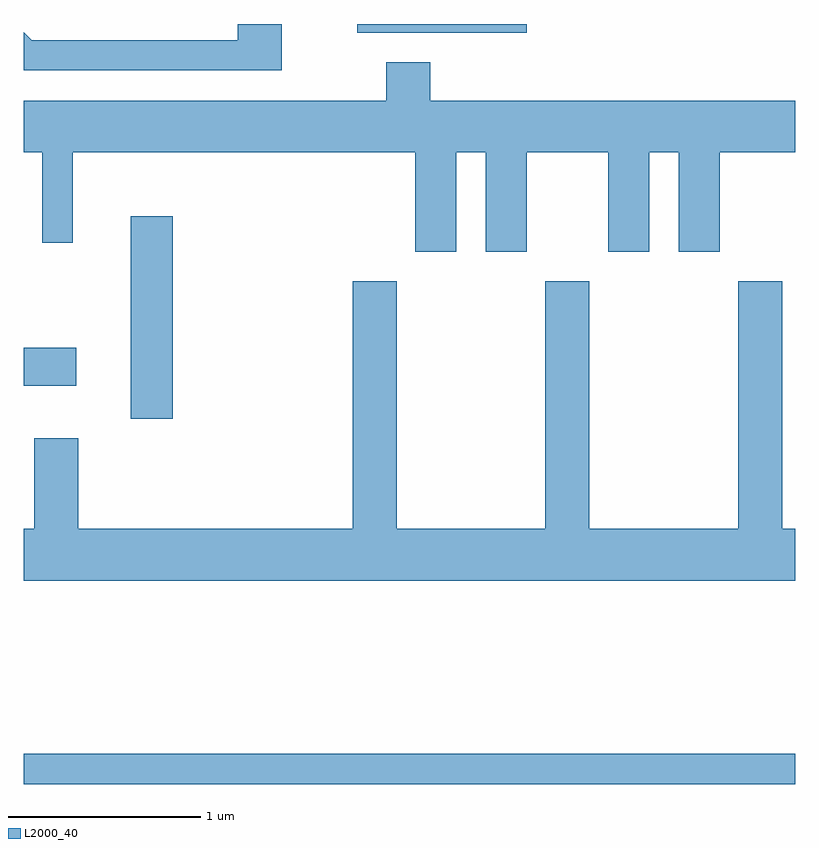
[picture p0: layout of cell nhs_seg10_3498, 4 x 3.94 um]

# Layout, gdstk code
import gdstk
lib = gdstk.Library(unit=1e-6, precision=1e-09)
def R(c, l, rs):  # rectangles x0, y0, x1, y1
    for r in rs: c.add(gdstk.rectangle(r[:2], r[2:], *l))
def P(c, l, *ps):  # polygons
    for p in ps: c.add(gdstk.Polygon(p, *l))
L2000_40 = (2000, 40)

nhs_seg10_3498 = lib.new_cell('nhs_seg10_3498')
R(nhs_seg10_3498, L2000_40, [(287.611,2170.581,291.611,2170.739), (288.166,2172.476,288.384,2173.524), (287.611,2172.646,287.884,2172.844), (289.341,2174.476,290.218,2174.522)])
P(nhs_seg10_3498, L2000_40, [(288.949,2174.522),(288.721,2174.522),(288.721,2174.439),(287.652,2174.439),(287.611,2174.48),(287.611,2174.281),(288.949,2174.281)],
  [(289.854,2173.856),(290.006,2173.856),(290.006,2173.341),(290.219,2173.341),(290.219,2173.856),(290.641,2173.856),(290.641,2173.341),(290.854,2173.341),(290.854,2173.856),(291.006,2173.856),(291.006,2173.341),(291.219,2173.341),(291.219,2173.856),(291.611,2173.856),(291.611,2174.124),(289.719,2174.124),(289.719,2174.324),(289.491,2174.324),(289.491,2174.124),(287.611,2174.124),(287.611,2173.856),(287.706,2173.856),(287.706,2173.388),(287.864,2173.388),(287.864,2173.856),(289.641,2173.856),(289.641,2173.341),(289.854,2173.341)],
  [(291.611,2171.904),(291.544,2171.904),(291.544,2173.189),(291.316,2173.189),(291.316,2171.904),(290.544,2171.904),(290.544,2173.189),(290.316,2173.189),(290.316,2171.904),(289.544,2171.904),(289.544,2173.189),(289.316,2173.189),(289.316,2171.904),(287.894,2171.904),(287.894,2172.374),(287.666,2172.374),(287.666,2171.904),(287.611,2171.904),(287.611,2171.636),(291.611,2171.636)])

lib.write_gds('nhs_seg10_3498.gds')
